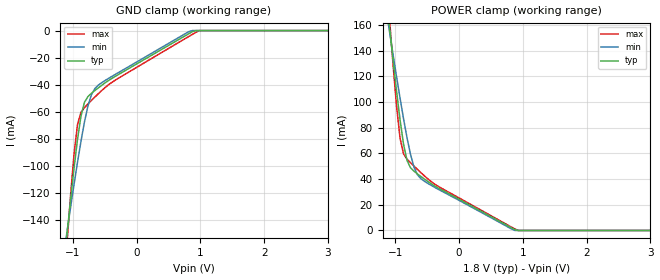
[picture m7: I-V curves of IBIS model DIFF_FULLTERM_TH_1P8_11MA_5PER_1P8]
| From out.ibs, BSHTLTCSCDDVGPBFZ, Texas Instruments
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|   Model Cell DIFF_FULLTERM_TH_1P8_11MA_5PER_1P8
|DIFF_FULLTERM_TH_1P8_11MA_5PER_1P8
[Model]   DIFF_FULLTERM_TH_1P8_11MA_5PER_1P8
Model_type   Input
Polarity   Non-Inverting
Vinl =  0.77
Vinh =  1.12
C_comp   1.5249p   1.4275p   1.6205p
|[Input load] diff_halfterm_11mA
|[Nom VDDS voltage] 1.8V
|[Output drive] NA
|[supplytol] 5
|[temp] ind
[Model Spec]
Vinl   0.77   0.77   0.77
Vinh   1.12   1.12   1.12
D_overshoot_high 2.34 2.34 2.34
D_overshoot_low -0.3 -0.3 -0.3
D_overshoot_time 1E-9 1E-9 1E-9
S_overshoot_high 1.65 1.65 1.65
S_overshoot_low 0 0 0
[Temperature Range]   25   125   -40
[Voltage Range]   1.8001   1.71   1.89
| Nom Voltages:
|   BIAS2=0.9, BIASFET=1.8, VDD=1, VDDS=1.8001, BUS_BIAS1=0, BUS_BIAS3=0,
|   VSS=0, VSSS=0
| Min Voltages:
|   BIAS2=0.855, BIASFET=1.71, VDD=0.9, VDDS=1.71, BUS_BIAS1=0,
|   BUS_BIAS3=0, VSS=0, VSSS=0
| Max Voltages:
|   BIAS2=0.945, BIASFET=1.89, VDD=1.1, VDDS=1.89, BUS_BIAS1=0,
|   BUS_BIAS3=0, VSS=0, VSSS=0
[POWER_clamp]
|   voltage   I(typ)   I(min)   I(max)
-1.8V     508.2mA    393.1mA    671.7mA
-1.091V   157.5mA    154.4mA    163.9mA
-1.036V   132.5mA    136.9mA    128.9mA
-981.9mV  108.5mA    119.7mA    96.88mA
-927.3mV  86.24mA    103.1mA    71.9mA
-872.8mV  67.32mA    87.13mA    59.67mA
-818.2mV  54.62mA    72.34mA    55.58mA
-709.1mV  46.19mA    49.48mA    50.16mA
-600mV    42.04mA    40.34mA    45.01mA
-436.4mV  36.31mA    35.09mA    37.94mA
927.3mV   0A         0A         0A
3.6V      0A         0A         0A
[GND_clamp]
|   voltage   I(typ)   I(min)   I(max)
-1.8V     -501.9mA   -389mA     -664.6mA
-1.091V   -150.1mA   -148.4mA   -156.3mA
-981.9mV  -101.7mA   -113.8mA   -91.32mA
-927.3mV  -80.38mA   -97.33mA   -69.43mA
-872.8mV  -63.2mA    -81.73mA   -60.45mA
-818.2mV  -53.06mA   -67.56mA   -57.03mA
-763.7mV  -48.81mA   -55.72mA   -54.33mA
-709.1mV  -46.41mA   -47.43mA   -51.72mA
-600mV    -42.35mA   -40.34mA   -46.67mA
818.2mV   -2.318mA   -773.9uA   -4.36mA
981.9mV   0A         0A         0A
3.6V      0A         0A         0A
